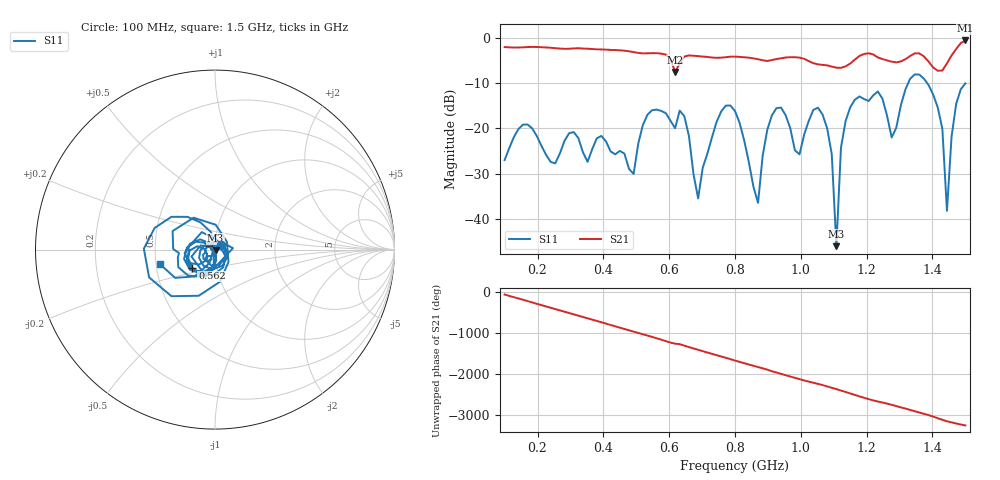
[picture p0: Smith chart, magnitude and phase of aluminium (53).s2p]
! NanoVNA-App
! Date: 2025-09-25 14:55:41
! Start: 100MHz Stop: 1,5GHz Points: 101
! S-Parameter data: F S11 S21 S12 S22
# Hz S RI R 50
!  Frequency  S11_Real  S11_Imag  S21_Real  S21_Imag  S12_Real  S12_Imag  S22_Real  S22_Imag
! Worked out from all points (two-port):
!   101 points, 100 MHz to 1.5 GHz, reference 50 ohm
!   highest |S21| = -0.46 dB at 1.5 GHz (marker M1); lowest = -7.4 dB at 618 MHz (marker M2)
!   |S21| within 3 dB of the highest: start of sweep to 580.8 MHz; 1.461 GHz to end of sweep (the widest 2 of 4)
!   lowest |S11| = -46.1 dB at 1.108 GHz (marker M3), VSWR 1.01, Z = 50.3 - j0.392 ohm
!   |S11| at or under -10 dB: start of sweep to 1.326 GHz; 1.385 GHz to 1.5 GHz (115.2 MHz wide, 7.99 % of centre)
!   S12 and S22 are empty: the file has one direction only
!   S11 on the Smith chart (normalised r, x): 100 MHz: 1.07, +0.06; 562 MHz: 0.76, -0.16; 1.5 GHz: 0.53, -0.10
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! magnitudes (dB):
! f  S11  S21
! 100 MHz  -27.0  -1.9
! 338 MHz  -25.3  -2.2
! 492 MHz  -30.1  -3.1
! 562 MHz  -15.8  -3.3
! 576 MHz  -16.1  -3.4
! 618 MHz  -20.0  -7.4
! 688 MHz  -35.5  -3.9
! 800 MHz  -16.1  -4.0
! 870 MHz  -36.5  -4.6
! 912 MHz  -17.1  -4.8
! 996 MHz  -25.7  -4.3
! 1.038 GHz  -15.9  -5.5
! 1.094 GHz  -25.7  -6.3
! 1.108 GHz  -46.1  -6.5
! 1.122 GHz  -24.2  -6.5
! 1.15 GHz  -15.3  -5.6
! 1.276 GHz  -22.0  -5.2
! 1.374 GHz  -8.9  -4.0
! 1.43 GHz  -20.1  -7.1
! 1.444 GHz  -38.3  -5.5
! 1.472 GHz  -14.5  -2.4
! 1.5 GHz  -10.0  -0.5
